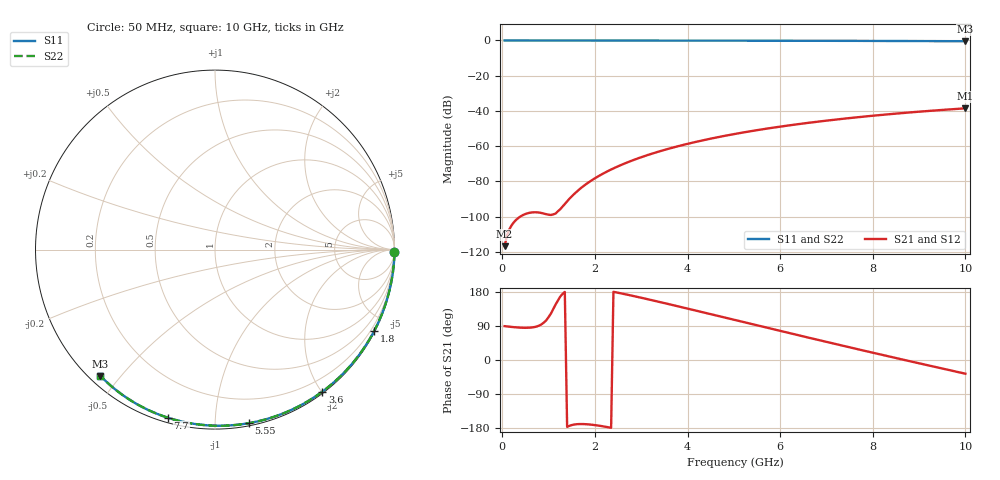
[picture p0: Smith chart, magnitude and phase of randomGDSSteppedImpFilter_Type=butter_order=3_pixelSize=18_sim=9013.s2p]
! freq	dB(S11)	phase(S11)	dB(S12)	phase(S12)
!  dB(S21)	phase(S21)	dB(S22)	phase(S22)
!S-par simulation data
#  GHz  S  DB  R 50
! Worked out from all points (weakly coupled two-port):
!   200 points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, 50 MHz to 10 GHz, reference 50 ohm
!   highest |S21| = -38.53 dB at 10 GHz (marker M1); lowest = -116.8 dB at 50 MHz (marker M2)
!   lowest |S11| = -0.4 dB at 10 GHz (marker M3), VSWR 39.08, Z = 1.53 - j22.1 ohm
!   |S11| at or under -10 dB: nowhere
!   |S22| runs from -0.4 to 0.0 dB; largest |S21 - S12| = 0
!   S11 on the Smith chart (normalised r, x): 50 MHz: open; 1.8 GHz: 0.04, -4.15; 3.6 GHz: 0.02, -2.01; 5.55 GHz: 0.02, -1.21; 7.7 GHz: 0.02, -0.76; 10 GHz: 0.03, -0.44
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0.05  -0.00 -0.8  -116.80 89.3  -116.80 89.3  -0.00 -0.8
0.45  -0.01 -6.9  -99.09 85.0  -99.09 85.0  -0.01 -6.9
0.9  -0.02 -13.7  -98.33 99.1  -98.33 99.1  -0.02 -13.7
1.75  -0.03 -26.3  -82.74 -169.1  -82.74 -169.1  -0.03 -26.3
1.8  -0.03 -27.1  -81.75 -169.4  -81.75 -169.4  -0.03 -27.1
1.9  -0.04 -28.5  -79.93 -170.3  -79.93 -170.3  -0.04 -28.5
2.05  -0.04 -30.7  -77.46 -172.7  -77.46 -172.7  -0.04 -30.8
2.25  -0.04 -33.7  -74.57 -176.6  -74.57 -176.6  -0.04 -33.7
2.45  -0.05 -36.6  -72.03 178.7  -72.03 178.7  -0.05 -36.6
2.65  -0.05 -39.5  -69.76 173.7  -69.76 173.7  -0.05 -39.5
3  -0.06 -44.5  -66.30 164.3  -66.30 164.3  -0.06 -44.5
3.4  -0.07 -50.1  -62.92 153.1  -62.92 153.1  -0.07 -50.1
3.6  -0.07 -52.9  -61.42 147.3  -61.42 147.3  -0.07 -52.9
4.3  -0.09 -62.6  -56.88 126.9  -56.88 126.9  -0.09 -62.6
5.05  -0.11 -72.6  -52.95 104.8  -52.95 104.8  -0.11 -72.6
5.55  -0.13 -79.1  -50.72 90.1  -50.72 90.1  -0.13 -79.1
6.1  -0.15 -86.1  -48.55 73.9  -48.55 73.9  -0.15 -86.1
6.7  -0.18 -93.5  -46.47 56.5  -46.47 56.5  -0.18 -93.5
7.7  -0.24 -105.6  -43.52 27.8  -43.52 27.8  -0.24 -105.6
8.35  -0.29 -113.3  -41.88 9.4  -41.88 9.4  -0.29 -113.3
9.15  -0.36 -122.5  -40.13 -12.9  -40.13 -12.9  -0.36 -122.5
10  -0.44 -132.2  -38.53 -36.2  -38.53 -36.2  -0.44 -132.2
